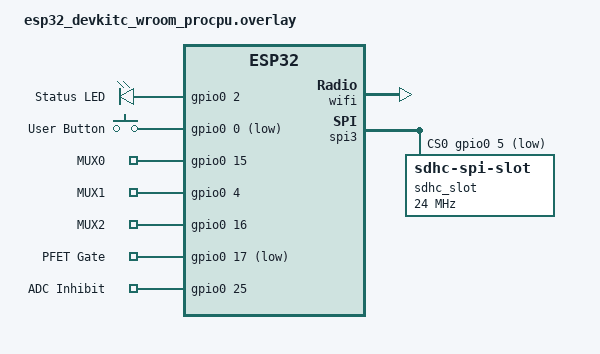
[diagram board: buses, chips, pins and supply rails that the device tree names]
/*
 * SPDX-License-Identifier: Apache-2.0
 * ICLE overlay for ESP32 DevKitC WROOM
 * Enables WiFi and adds ICLE-specific GPIO definitions
 */

/* Enable WiFi */
&wifi {
	status = "okay";
};

/* ICLE-specific GPIO controls - add as aliases since this board
 * doesn't have the custom ICLE DTS. These map to safe GPIOs for testing.
 */
/ {
	aliases {
		led0 = &led_status;
		led1 = &led_status;  /* Map both to same LED on devkit */
		sw0 = &user_button;  /* Main button for ICLE control */
	};

	leds {
		compatible = "gpio-leds";
		led_status: led_status {
			gpios = <&gpio0 2 GPIO_ACTIVE_HIGH>;  /* Built-in LED on devkit */
			label = "Status LED";
		};
	};

	buttons {
		compatible = "gpio-keys";
		user_button: user_button {
			gpios = <&gpio0 0 (GPIO_PULL_UP | GPIO_ACTIVE_LOW)>;  /* BOOT button on GPIO0 */
			label = "User Button";
			zephyr,code = <0>;
		};
	};

	/* Placeholder GPIO controls for testing on devkit */
	icle_controls {
		compatible = "gpio-keys";

		mux0: mux0 {
			gpios = <&gpio0 15 GPIO_ACTIVE_HIGH>;
			label = "MUX0";
		};

		mux1: mux1 {
			gpios = <&gpio0 4 GPIO_ACTIVE_HIGH>;
			label = "MUX1";
		};

		mux2: mux2 {
			gpios = <&gpio0 16 GPIO_ACTIVE_HIGH>;
			label = "MUX2";
		};

		pfet_gate: pfet_gate {
			gpios = <&gpio0 17 GPIO_ACTIVE_LOW>;
			label = "PFET Gate";
		};

		adc_inh: adc_inh {
			gpios = <&gpio0 25 GPIO_ACTIVE_HIGH>;
			label = "ADC Inhibit";
		};
	};

};

/* Configure VSPI (SPI3) for SD card */
&spi3 {
	status = "okay";
	pinctrl-0 = <&spim3_default>;
	pinctrl-names = "default";
	cs-gpios = <&gpio0 5 GPIO_ACTIVE_LOW>;  /* GPIO5 as CS */

	sdhc_slot: sdhc@0 {
		compatible = "zephyr,sdhc-spi-slot";
		reg = <0>;
		status = "okay";
		spi-max-frequency = <24000000>;
		mmc {
			compatible = "zephyr,sdmmc-disk";
			disk-name = "SD";
			status = "okay";
		};
	};
};
